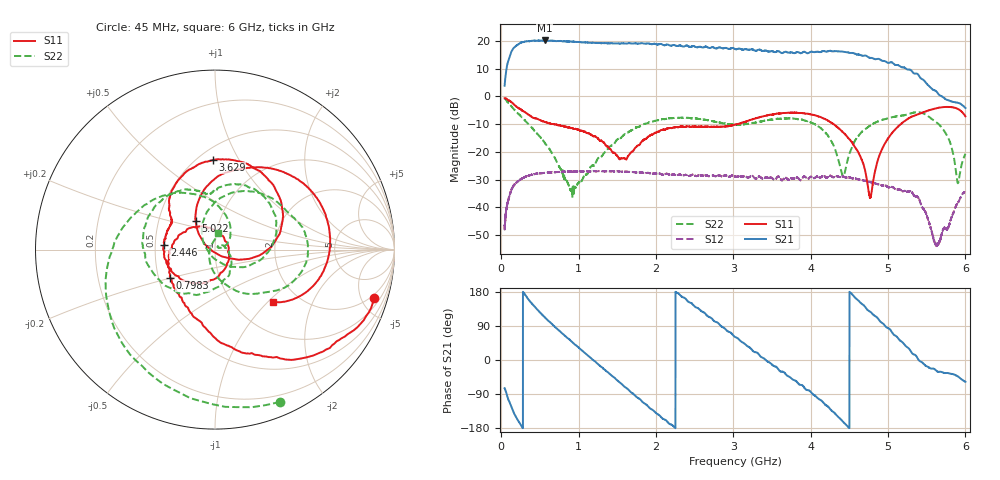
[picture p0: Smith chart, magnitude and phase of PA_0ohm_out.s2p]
!Agilent Technologies,E8364A,US41440144,A.06.04.32
!Agilent E8364A: A.06.04.32
!Date: Thursday, November 08, 2018 15:01:40
!Correction: S11(Full 2 Port(1,2)) S21(Full 2 Port(1,2)) S12(Full 2 Port(1,2)) S22(Full 2 Port(1,2))
!S2P File: Measurements: S11, S21, S12, S22:
# Hz S  dB  R 50
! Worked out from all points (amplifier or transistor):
!   16001 points, 45 MHz to 6 GHz, reference 50 ohm
!   highest |S21| = 20.2 dB at 564.9 MHz (marker M1)
!   |S21| within 3 dB of that: 154 MHz to 2.934 GHz (2.78 GHz wide, 180 % of centre)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
!   unconditionally stable (mu >= 1): start of sweep to end of sweep
!   at 1.037 GHz: K = 1.32, MAG = 19.9 dB, |S12| = -27.0 dB
!   at 3.022 GHz: K = 1.78, MAG = 17.8 dB, |S12| = -28.8 dB
!   at 6 GHz: K = 34.01, MAG = -3.2 dB, |S12| = -34.4 dB
!   S11 on the Smith chart (normalised r, x): 45 MHz: 1.62, -6.28; 798.3 MHz: 0.58, -0.20; 2.446 GHz: 0.56, +0.03; 3.629 GHz: 0.59, +0.78; 5.022 GHz: 0.77, +0.26; 6 GHz: 1.49, -1.09
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4.5e7  -0.65 -17.0  3.87 -74.7  -47.08 121.7  -0.70 -66.9
1.458628e8  -2.33 -53.0  16.83 -130.3  -32.88 63.3  -3.99 -164.7
2.846888e8  -5.29 -81.9  19.60 179.3  -29.42 14.6  -7.95 129.2
5.649459e8  -9.20 -119.3  20.18 112.5  -27.58 -45.0  -16.76 53.4
7.983075e8  -10.61 -147.8  19.87 68.7  -27.16 -84.0  -27.94 15.5
1.037624e9  -12.38 176.6  19.51 26.3  -26.99 -120.4  -30.54 45.2
1.297039e9  -15.99 127.0  19.20 -18.3  -26.95 -159.2  -21.63 -17.1
1.585112e9  -22.22 8.7  19.11 -68.6  -27.15 159.0  -13.90 -82.0
1.807308e9  -16.62 -81.7  19.20 -106.2  -27.40 127.5  -10.51 -124.3
2.030248e9  -12.71 -129.4  18.75 -143.7  -27.79 96.9  -8.54 -162.7
2.445609e9  -10.95 175.1  17.85 151.4  -28.56 44.1  -7.81 139.6
2.737404e9  -10.97 152.7  17.74 106.0  -28.52 4.1  -8.94 111.1
3.0225e9  -10.15 143.1  17.09 60.8  -28.81 -36.1  -10.16 96.8
3.34072e9  -7.50 122.1  16.86 12.2  -28.85 -78.3  -9.06 84.2
3.628793e9  -6.03 91.5  15.63 -30.8  -30.21 -115.6  -7.95 59.2
4.015124e9  -6.57 42.5  16.14 -87.6  -29.03 -168.0  -9.54 9.0
4.464354e9  -14.24 -15.5  15.96 -172.2  -29.26 117.6  -24.52 160.9
4.727119e9  -30.15 -58.2  14.51 134.0  -30.53 70.5  -11.35 88.6
5.007748e9  -14.85 125.9  12.12 83.4  -32.80 22.2  -7.86 49.9
5.022263e9  -14.26 124.1  12.23 81.4  -32.79 21.2  -7.72 48.1
5.467028e9  -5.60 60.8  5.71 -11.7  -40.85 -86.2  -6.29 -18.0
6e9  -7.16 -42.0  -4.17 -57.7  -34.40 -114.0  -20.66 79.3
